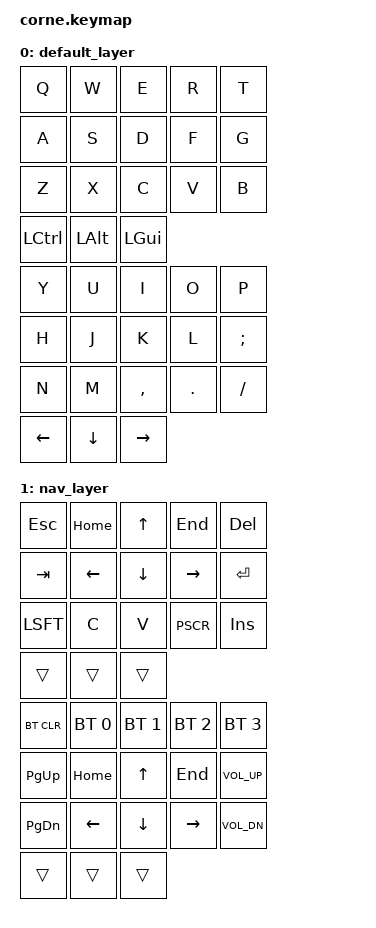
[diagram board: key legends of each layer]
#include <behaviors.dtsi>
#include <dt-bindings/zmk/keys.h>

/ {
    keymap {
        compatible = "zmk,keymap";

        // Основной слой (QWERTY)
        default_layer {
            bindings = <
                // ЛЕВАЯ половина (3x5 + 3)
                &kp Q    &kp W    &kp E    &kp R    &kp T
                &kp A    &kp S    &kp D    &kp F    &kp G
                &kp Z    &kp X    &kp C    &kp V    &kp B
                &kp LCTL &kp LALT &kp LGUI

                // ПРАВАЯ половина (3x5 + 3)
                &kp Y    &kp U    &kp I     &kp O     &kp P
                &kp H    &kp J    &kp K     &kp L     &kp SEMI
                &kp N    &kp M    &kp COMMA &kp DOT   &kp SLASH
                &kp LEFT &kp DOWN &kp RIGHT
            >;
        };

        // Слой навигации
        nav_layer {
            bindings = <
                // Левая половина
                &kp ESC  &kp HOME &kp UP   &kp END   &kp DEL
                &kp TAB  &kp LEFT &kp DOWN &kp RIGHT &kp ENTER
                &kp LSFT &kp C    &kp V    &kp PSCR  &kp INS
                &trans   &trans   &trans

                // Правая половина
                &bt BT_CLR &bt BT_SEL 0 &bt BT_SEL 1 &bt BT_SEL 2 &bt BT_SEL 3
                &kp PG_UP  &kp HOME    &kp UP       &kp END     &kp VOL_UP
                &kp PG_DN  &kp LEFT    &kp DOWN     &kp RIGHT   &kp VOL_DN
                &trans     &trans      &trans
            >;
        };

        layers = <
            default_layer
            nav_layer
        >;
    };

    // Поведение для переключения слоев
    behaviors {
        nav: nav_layer {
            compatible = "zmk,behavior-layer-tap";
            label = "NAV_LAYER";
            #binding-cells = <0>;
            bindings = <&mo 1>;
            tapping-term-ms = <200>;
        };
    };
};
